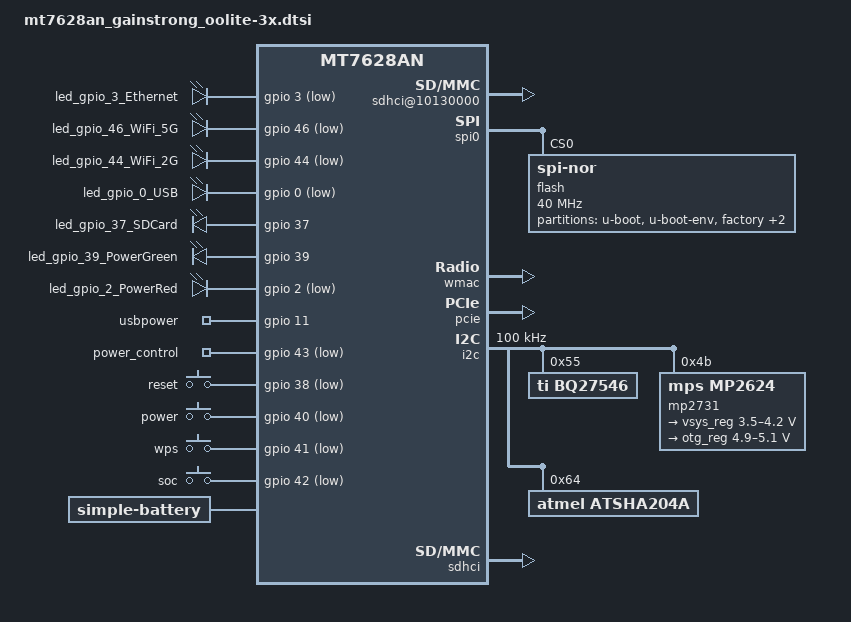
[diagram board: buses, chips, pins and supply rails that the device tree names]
// SPDX-License-Identifier: GPL-2.0-or-later OR MIT

#include "mt7628an.dtsi"
#include <dt-bindings/gpio/gpio.h>
#include <dt-bindings/input/input.h>

/ {
	aliases {
		led-boot = &led_system;
		led-failsafe = &led_system;
		led-upgrade = &led_system;
	};

	leds {
		compatible = "gpio-leds";

		led_gpio_3 {
			label = "led_gpio_3_Ethernet";
			gpios = <&gpio 3 GPIO_ACTIVE_LOW>;
		};

		led_gpio_46 {
			label = "led_gpio_46_WiFi_5G";
			gpios = <&gpio 46 GPIO_ACTIVE_LOW>;
		};

		led_gpio_44 {
			label = "led_gpio_44_WiFi_2G";
			gpios = <&gpio 44 GPIO_ACTIVE_LOW>;
		};

		led_gpio_0 {
			label = "led_gpio_0_USB";
			gpios = <&gpio 0 GPIO_ACTIVE_LOW>;
			trigger-sources = <&ohci_port1>, <&ehci_port1>;
			linux,default-trigger = "usbport";
		};

		led_gpio_37 {
			label = "led_gpio_37_SDCard";
			gpios = <&gpio 37 GPIO_ACTIVE_HIGH>;
			default-state = "on";
		};

		led_system: led_gpio_39 {
			label = "led_gpio_39_PowerGreen";
			gpios = <&gpio 39 GPIO_ACTIVE_HIGH>;
		};

		led_gpio_2 {
			label = "led_gpio_2_PowerRed";
			gpios = <&gpio 2 GPIO_ACTIVE_LOW>;
		};
	};

	gpio_export {
		compatible = "gpio-export";
		#size-cells = <0>;

		usbpower {
			gpio-export,name = "usbpower";
			gpio-export,output = <1>;
			gpios = <&gpio 11 GPIO_ACTIVE_HIGH>;
		};

		power_control {
			gpio-export,name = "power_control";
			gpio-export,output = <1>;
			gpios = <&gpio 43 GPIO_ACTIVE_LOW>;
		};
	};

	keys {
		compatible = "gpio-keys";

		reset {
			label = "reset";
			gpios = <&gpio 38 GPIO_ACTIVE_LOW>;
			linux,code = <KEY_RESTART>;
		};

		power {
			label = "power";
			gpios = <&gpio 40 GPIO_ACTIVE_LOW>;
			linux,code = <KEY_POWER>;
		};

		wps {
			label = "wps";
			gpios = <&gpio 41 GPIO_ACTIVE_LOW>;
			linux,code = <KEY_WPS_BUTTON>;
		};

		soc {
			label = "soc";
			gpios = <&gpio 42 GPIO_ACTIVE_LOW>;
			linux,code = <BTN_0>;
			linux,input-type = <EV_SW>;
		};
	};

	sdhci@10130000 {
		status = "okay";
	};


	bat: battery {
		compatible = "simple-battery";
		voltage-min-design-microvolt = <3200000>;
		energy-full-design-microwatt-hours = <12580000>;
		charge-full-design-microamp-hours = <3400000>;
		precharge-current-microamp = <256000>;
		charge-term-current-microamp = <128000>;
		constant-charge-current-max-microamp = <1200000>;
		constant-charge-voltage-max-microvolt = <4200000>;
	};

};

&state_default {
	gpio {
		groups = "gpio", "i2s", "uart1", "refclk", "p0led_an", "p1led_an", "p2led_an", "p3led_an", "p4led_an", "wled_an";
		function = "gpio";
	};
};

&spi0 {
	status = "okay";

	flash@0 {
		compatible = "jedec,spi-nor";
		reg = <0>;
		spi-max-frequency = <40000000>;

		partitions {
			compatible = "fixed-partitions";
			#address-cells = <1>;
			#size-cells = <1>;

			partition@0 {
				label = "u-boot";
				reg = <0x0 0x30000>;
				//read-only;  //recommend to enable this option for release firmware
			};

			partition@30000 {
				label = "u-boot-env";
				reg = <0x30000 0x10000>;
				//read-only;  //recommend to enable this option for release firmware
			};

			factory: partition@40000 {
				label = "factory";
				reg = <0x40000 0x10000>;
				//read-only;  //recommend to enable this option for release firmware
			};

			firmware: partition@50000 {
				compatible = "denx,uimage";
				label = "firmware";
			};

			all: partition@all {
				label = "all";
				//read-only;  //recommend to enable this option for release firmware
			};
		};
	};
};

&ethernet {
	mtd-mac-address = <&factory 0x4>;
    mtd-mac-address-increment = <1>;
};

&wmac {
	status = "okay";
};

&pcie {
	status = "okay";
};

&pcie0 {
	wifi@0,0 {
		reg = <0x0000 0 0 0 0>;
		mediatek,mtd-eeprom = <&factory 0x8000>;
		ieee80211-freq-limit = <5000000 6000000>;
	};
};


&i2c {
	status = "okay";
	clock-frequency = <100000>;
    
	bq27546@55 {
		compatible = "ti,bq27546";
		reg = <0x55>;
		monitored-battery = <&bat>;
    };

	/* charger */
	mp2731@4b {
		compatible = "mps,mp2624";
		reg = <0x4b>;
		monitored-battery = <&bat>;
		/* interrupts are broken */
		regulators {
			vsys_reg: vsys_regulator {
				regulator-compatible = "bq2429x-vsys";
				regulator-name = "vsys";
				regulator-min-microvolt = <3500000>;
				regulator-max-microvolt = <4200000>;
				regulator-always-on;
				regulator-boot-on;
			};
			otg_reg: otg_regulator {
				regulator-compatible = "bq2429x-otg";
				regulator-name = "otg";
				regulator-min-microvolt = <4900000>;
				regulator-max-microvolt = <5100000>;
			};
		};
	};

    atsha204a@64 {
        compatible = "atmel,atsha204a";
        reg = <0x64>;
    };
};

&sdhci {
	status = "okay";	
};
